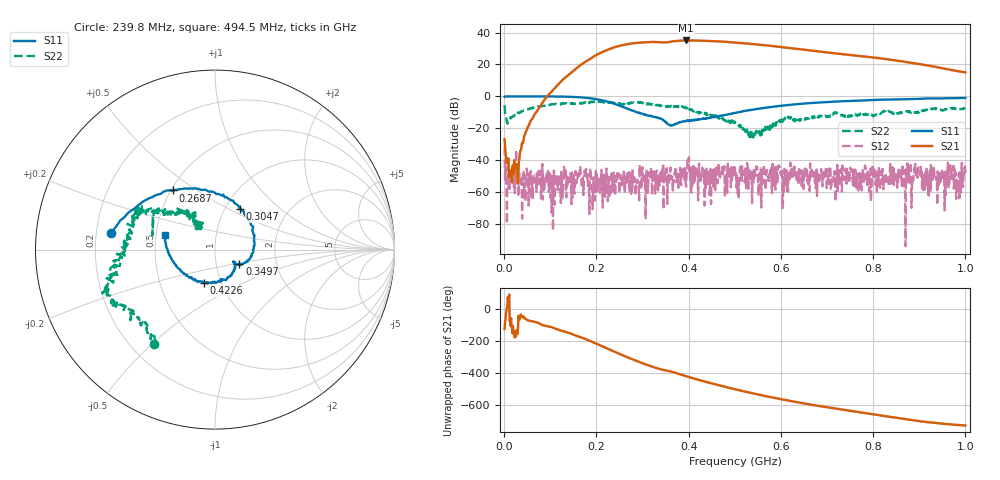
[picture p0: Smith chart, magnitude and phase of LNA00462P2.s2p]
! Created with skrf 1.9.0 (http://scikit-rf.org).
# Hz S RI R 50.0
!freq ReS11 ImS11 ReS21 ImS21 ReS12 ImS12 ReS22 ImS22
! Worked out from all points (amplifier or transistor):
!   1001 points, 1 MHz to 1 GHz, reference 50 ohm
!   highest |S21| = 35.0 dB at 394.6 MHz (marker M1)
!   |S21| within 3 dB of that: 255.9 MHz to 565.8 MHz (309.9 MHz wide, 75.4 % of centre)
!   unconditionally stable (mu >= 1): 221.9 MHz to 293.7 MHz; 293.8 MHz to 397.5 MHz; 398 MHz to end of sweep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
!   at 166.8 MHz: K = 1.42, MAG = 31.3 dB, |S12| = -50.5 dB
!   at 500.5 MHz: K = 1.66, MAG = 34.5 dB, |S12| = -44.8 dB
!   at 1 GHz: K = 3.98, MAG = 22.7 dB, |S12| = -48.1 dB
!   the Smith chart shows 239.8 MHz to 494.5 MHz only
!   S11 on the Smith chart (normalised r, x): 239.8 MHz: 0.26, +0.07; 268.7 MHz: 0.51, +0.40; 304.7 MHz: 1.17, +0.57; 349.7 MHz: 1.29, -0.21; 422.6 MHz: 0.83, -0.32; 494.5 MHz: 0.56, +0.10
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1000000  0.9745 -0.00668  -0.0247 -0.0383  -0.0126 0.0231  0.3885 0.353
1.08892e8  0.5284 -0.8456  -0.8277 -1.553  0.000181 0.000357  0.4223 -0.3836
1.67833e8  -0.2199 -0.9031  -10.1 -0.5689  -0.00163 -0.000396  0.0367 -0.6282
2.08792e8  -0.6614 -0.4133  -15.94 16.67  -0.00131 0.000887  -0.2137 -0.6342
2.39761e8  -0.5786 0.0932  -2.225 34.71  -0.00218 0.000906  -0.3386 -0.5269
2.68732e8  -0.234 0.3296  23.11 36.67  0.00234 -0.00318  -0.51 -0.3367
3.04696e8  0.1384 0.2262  47.4 14.46  0.00287 -0.00154  -0.5665 -0.1842
3.34666e8  0.2135 -0.0129  48.84 -10.67  -0.00066 0.00263  -0.5247 -0.0265
3.49651e8  0.1357 -0.0789  45.3 -18.88  -0.00203 -0.00309  -0.4882 0.0741
3.71629e8  0.1095 -0.083  42.68 -33.63  0.00542 0.00333  -0.4357 0.2102
3.94606e8  0.0707 -0.1525  28.64 -48.61  0.00141 0.000518  -0.3828 0.1967
4.22578e8  -0.0621 -0.1853  6.613 -55.17  0.00407 0.00677  -0.2147 0.1935
4.55545e8  -0.2003 -0.1076  -17.43 -50.44  0.00421 6.74e-05  -0.1497 0.2026
4.94506e8  -0.2808 0.0788  -36.31 -33.54  0.00306 0.000391  -0.0944 0.1335
5.005e8  -0.2863 0.1098  -38.15 -30.52  0.00421 0.00397  -0.0823 0.1352
5.4046e8  -0.2269 0.3164  -42.23 -9.154  0.0015 -0.00108  -0.0536 0.0054
5.85415e8  -0.0531 0.4796  -36 9.941  0.00597 -0.00286  -0.1062 -0.0574
6.25375e8  0.1306 0.5411  -25.18 19.38  0.00203 -0.00391  -0.1754 -0.0918
6.67333e8  0.328 0.5301  -13.81 23.09  0.00393 -0.0031  -0.2052 -0.0263
7.53247e8  0.6284 0.3724  2.666 19.38  0.000329 -0.00344  -0.25 0.0448
8.34166e8  0.7833 0.1423  9.856 10.4  -0.00149 -0.000221  -0.3354 0.0247
1e9  0.8103 -0.3844  5.611 -0.8399  0.00196 -0.00341  -0.2732 0.3283
